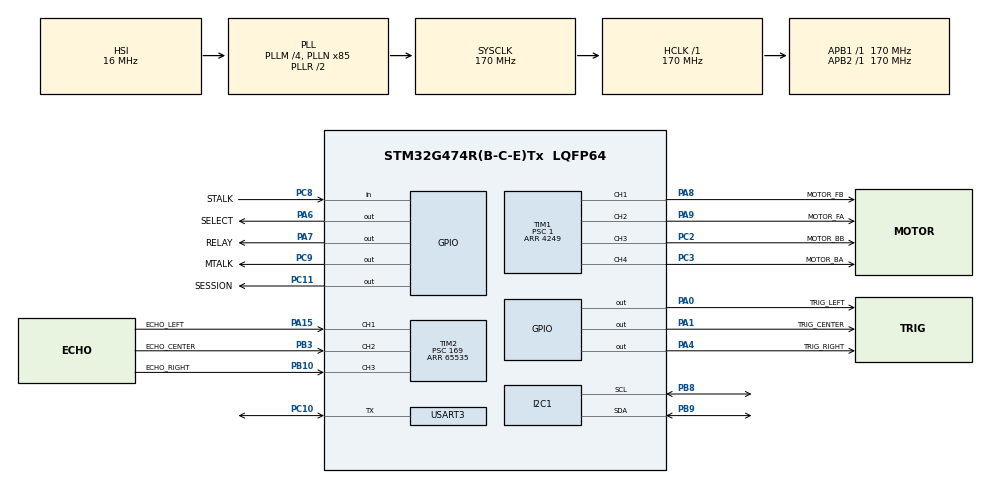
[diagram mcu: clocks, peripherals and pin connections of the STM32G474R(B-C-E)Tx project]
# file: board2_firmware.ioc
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CRC.InputDataFormat=CRC_INPUTDATA_FORMAT_BYTES
Dma.Request0=USART3_RX
Dma.Request1=USART3_TX
Dma.USART3_RX.0.Direction=DMA_PERIPH_TO_MEMORY
Dma.USART3_RX.0.EventEnable=DISABLE
Dma.USART3_RX.0.Instance=DMA1_Channel1
Dma.USART3_RX.0.MemDataAlignment=DMA_MDATAALIGN_BYTE
Dma.USART3_RX.0.MemInc=DMA_MINC_ENABLE
Dma.USART3_RX.0.Mode=DMA_NORMAL
Dma.USART3_RX.0.PeriphDataAlignment=DMA_PDATAALIGN_BYTE
Dma.USART3_RX.0.PeriphInc=DMA_PINC_DISABLE
Dma.USART3_RX.0.Polarity=HAL_DMAMUX_REQ_GEN_RISING
Dma.USART3_RX.0.Priority=DMA_PRIORITY_LOW
Dma.USART3_RX.0.RequestNumber=1
Dma.USART3_RX.0.SignalID=NONE
Dma.USART3_RX.0.SyncEnable=DISABLE
Dma.USART3_RX.0.SyncPolarity=HAL_DMAMUX_SYNC_NO_EVENT
Dma.USART3_RX.0.SyncRequestNumber=1
Dma.USART3_RX.0.SyncSignalID=NONE
Dma.USART3_TX.1.Direction=DMA_MEMORY_TO_PERIPH
Dma.USART3_TX.1.EventEnable=DISABLE
Dma.USART3_TX.1.Instance=DMA1_Channel2
Dma.USART3_TX.1.MemDataAlignment=DMA_MDATAALIGN_BYTE
Dma.USART3_TX.1.MemInc=DMA_MINC_ENABLE
Dma.USART3_TX.1.Mode=DMA_NORMAL
Dma.USART3_TX.1.PeriphDataAlignment=DMA_PDATAALIGN_BYTE
Dma.USART3_TX.1.PeriphInc=DMA_PINC_DISABLE
Dma.USART3_TX.1.Polarity=HAL_DMAMUX_REQ_GEN_RISING
Dma.USART3_TX.1.Priority=DMA_PRIORITY_LOW
Dma.USART3_TX.1.RequestNumber=1
Dma.USART3_TX.1.SignalID=NONE
Dma.USART3_TX.1.SyncEnable=DISABLE
Dma.USART3_TX.1.SyncPolarity=HAL_DMAMUX_SYNC_NO_EVENT
Dma.USART3_TX.1.SyncRequestNumber=1
Dma.USART3_TX.1.SyncSignalID=NONE
FREERTOS.Tasks01=readSonar,33,384,readSonarTask,Default,NULL,Static,readSonarBuffer,readSonarControlBlock;supervision,24,512,supervisionTask,Default,NULL,Static,supervisionBuffer,supervisionControlBlock;telemetryLogger,8,512,telemetryLoggerTask,Default,NULL,Static,telemetryLoggerBuffer,telemetryLoggerControlBlock
FREERTOS.configENABLE_FPU=1
FREERTOS.configTICK_RATE_HZ=1000
FREERTOS.configTOTAL_HEAP_SIZE=15360
FREERTOS.configUSE_NEWLIB_REENTRANT=1
FREERTOS.configUSE_PREEMPTION=1
I2C1.Timing=0x40B285C2
Mcu.Family=STM32G4
Mcu.Name=STM32G474R(B-C-E)Tx
Mcu.Package=LQFP64
NVIC.DMA1_Channel1_IRQn=true\:5\:0\:false\:false\:true\:true\:false\:true\:true
NVIC.DMA1_Channel2_IRQn=true\:5\:0\:false\:false\:true\:true\:false\:true\:true
NVIC.PriorityGroup=NVIC_PRIORITYGROUP_4
NVIC.TIM2_IRQn=true\:5\:0\:false\:false\:true\:true\:true\:true\:true
NVIC.TIM4_IRQn=true\:5\:0\:false\:false\:true\:true\:true\:true\:true
NVIC.TIM6_DAC_IRQn=true\:15\:0\:false\:false\:true\:false\:false\:true\:true
NVIC.TimeBase=TIM6_DAC_IRQn
NVIC.TimeBaseIP=TIM6
NVIC.USART3_IRQn=true\:5\:0\:false\:false\:true\:true\:true\:true\:true
PA0.GPIO_Label=TRIG_LEFT
PA0.Signal=GPIO_Output
PA1.GPIO_Label=TRIG_CENTER
PA1.Signal=GPIO_Output
PA15.GPIO_Label=ECHO_LEFT
PA15.GPIO_PuPd=GPIO_PULLDOWN
PA15.Signal=S_TIM2_CH1
PA4.GPIO_Label=TRIG_RIGHT
PA4.Signal=GPIO_Output
PA6.GPIO_Label=SELECT
PA6.Signal=GPIO_Output
PA7.GPIO_Label=RELAY
PA7.Signal=GPIO_Output
PA8.GPIO_Label=MOTOR_FB
PA8.Signal=S_TIM1_CH1
PA9.GPIO_Label=MOTOR_FA
PA9.Signal=S_TIM1_CH2
PB10.GPIO_Label=ECHO_RIGHT
PB10.GPIO_PuPd=GPIO_PULLDOWN
PB10.Signal=S_TIM2_CH3
PB3.GPIO_Label=ECHO_CENTER
PB3.GPIO_PuPd=GPIO_PULLDOWN
PB3.Signal=S_TIM2_CH2
PB8-BOOT0.GPIO_Pu=GPIO_PULLUP
PB8-BOOT0.Mode=I2C
PB8-BOOT0.Signal=I2C1_SCL
PB9.GPIO_Pu=GPIO_PULLUP
PB9.Mode=I2C
PB9.Signal=I2C1_SDA
PC10.GPIO_PuPd=GPIO_NOPULL
PC10.Mode=Half_duplex(single_wire_mode)
PC10.Signal=USART3_TX
PC11.GPIO_Label=SESSION
PC11.Signal=GPIO_Output
PC2.GPIO_Label=MOTOR_BB
PC2.Signal=S_TIM1_CH3
PC3.GPIO_Label=MOTOR_BA
PC3.Signal=S_TIM1_CH4
PC8.GPIO_Label=STALK
PC8.GPIO_PuPd=GPIO_PULLDOWN
PC8.Signal=GPIO_Input
PC9.GPIO_Label=MTALK
PC9.Signal=GPIO_Output
ProjectManager.HeapSize=0x200
ProjectManager.StackSize=0x400
ProjectManager.TargetToolchain=STM32CubeIDE
RCC.ADC12Freq_Value=170000000
RCC.ADC345Freq_Value=170000000
RCC.AHBFreq_Value=170000000
RCC.APB1Freq_Value=170000000
RCC.APB1TimFreq_Value=170000000
RCC.APB2Freq_Value=170000000
RCC.APB2TimFreq_Value=170000000
RCC.CortexFreq_Value=170000000
RCC.EXTERNAL_CLOCK_VALUE=12288000
RCC.HCLKFreq_Value=170000000
RCC.HSE_VALUE=8000000
RCC.HSI48_VALUE=48000000
RCC.HSI_VALUE=16000000
RCC.LSE_VALUE=32768
RCC.PLLM=RCC_PLLM_DIV4
RCC.PLLN=85
RCC.SYSCLKFreq_VALUE=170000000
RCC.SYSCLKSource=RCC_SYSCLKSOURCE_PLLCLK
RCC.USBFreq_Value=170000000
RCC.VCOOutputFreq_Value=340000000
SH.S_TIM1_CH1.0=TIM1_CH1,PWM Generation1 CH1
SH.S_TIM1_CH2.0=TIM1_CH2,PWM Generation2 CH2
SH.S_TIM1_CH3.0=TIM1_CH3,PWM Generation3 CH3
SH.S_TIM1_CH4.0=TIM1_CH4,PWM Generation4 CH4
SH.S_TIM2_CH1.0=TIM2_CH1,Input_Capture1_from_TI1
SH.S_TIM2_CH2.0=TIM2_CH2,Input_Capture2_from_TI2
SH.S_TIM2_CH3.0=TIM2_CH3,Input_Capture3_from_TI3
TIM1.Channel-PWM\ Generation1\ CH1=TIM_CHANNEL_1
TIM1.Channel-PWM\ Generation2\ CH2=TIM_CHANNEL_2
TIM1.Channel-PWM\ Generation3\ CH3=TIM_CHANNEL_3
TIM1.Channel-PWM\ Generation4\ CH4=TIM_CHANNEL_4
TIM1.PeriodNoDither=4249
TIM1.Prescaler=1
TIM2.Channel-Input_Capture1_from_TI1=TIM_CHANNEL_1
TIM2.Channel-Input_Capture2_from_TI2=TIM_CHANNEL_2
TIM2.Channel-Input_Capture3_from_TI3=TIM_CHANNEL_3
TIM2.PeriodNoDither=65535
TIM2.Prescaler=169
TIM4.Prescaler=1699
TIM5.Prescaler=169
USART3.BaudRate=230400
USART3.VirtualMode-Half_duplex(single_wire_mode)=VM_ASYNC
VP_CRC_VS_CRC.Mode=CRC_Activate
VP_FREERTOS_VS_CMSIS_V2.Mode=CMSIS_V2
VP_SYS_VS_DBSignals.Mode=DisableDeadBatterySignals
VP_SYS_VS_tim6.Mode=TIM6
VP_TIM4_VS_ClockSourceINT.Mode=Internal
VP_TIM5_VS_ClockSourceINT.Mode=Internal
board=custom

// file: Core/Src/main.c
/* USER CODE BEGIN Header */
/**
  ******************************************************************************
  * @file           : main.c
  * @brief          : Main program body
  ******************************************************************************
  * @attention
  *
  * Copyright (c) 2025 STMicroelectronics.
  * All rights reserved.
  *
  * This software is licensed under terms that can be found in the LICENSE file
  * in the root directory of this software component.
  * If no LICENSE file comes with this software, it is provided AS-IS.
  *
  ******************************************************************************
  */
/* USER CODE END Header */
#include "main.h"
#include "cmsis_os.h"
#include "crc.h"
#include "dma.h"
#include "i2c.h"
#include "tim.h"
#include "usart.h"
#include "gpio.h"

/* USER CODE BEGIN Includes */
#include "hcsr04.h"
#include "deadline_watchdog.h"
/* USER CODE END Includes */

/* USER CODE BEGIN PV */
extern Deadline_Watchdog_t hard_rt_deadline_wd;
boolean_T first_time = 0;
/* USER CODE END PV */

void SystemClock_Config(void);
void MX_FREERTOS_Init(void);

int main(void)
{

  /* MCU Configuration--------------------------------------------------------*/

  /* Reset of all peripherals, Initializes the Flash interface and the Systick. */
  HAL_Init();

  /* Configure the system clock */
  SystemClock_Config();

  /* Initialize all configured peripherals */
  MX_GPIO_Init();
  MX_DMA_Init();
  MX_CRC_Init();
  MX_TIM2_Init();
  MX_I2C1_Init();
  MX_TIM1_Init();
  MX_USART3_UART_Init();
  MX_TIM4_Init();
  MX_TIM5_Init();
  /* USER CODE BEGIN 2 */
  /*while (HAL_GPIO_ReadPin(GPIOB, GPIO_PIN_9) == GPIO_PIN_RESET)
  {
      for (int i = 0; i < 9; i++)
      {
          HAL_GPIO_TogglePin(GPIOB, GPIO_PIN_8);
      }
  }*/
  HAL_TIM_Base_Start(&htim5);
  /* USER CODE END 2 */

  /* Init scheduler */
  osKernelInitialize();

  /* Call init function for freertos objects (in cmsis_os2.c) */
  MX_FREERTOS_Init();

  /* Start scheduler */
  osKernelStart();

  /* We should never get here as control is now taken by the scheduler */

  /* Infinite loop */
  while (1)
  {

  }
}

void SystemClock_Config(void)
{
  RCC_OscInitTypeDef RCC_OscInitStruct = {0};
  RCC_ClkInitTypeDef RCC_ClkInitStruct = {0};

  /** Configure the main internal regulator output voltage
  */
  HAL_PWREx_ControlVoltageScaling(PWR_REGULATOR_VOLTAGE_SCALE1_BOOST);

  /** Initializes the RCC Oscillators according to the specified parameters
  * in the RCC_OscInitTypeDef structure.
  */
  RCC_OscInitStruct.OscillatorType = RCC_OSCILLATORTYPE_HSI;
  RCC_OscInitStruct.HSIState = RCC_HSI_ON;
  RCC_OscInitStruct.HSICalibrationValue = RCC_HSICALIBRATION_DEFAULT;
  RCC_OscInitStruct.PLL.PLLState = RCC_PLL_ON;
  RCC_OscInitStruct.PLL.PLLSource = RCC_PLLSOURCE_HSI;
  RCC_OscInitStruct.PLL.PLLM = RCC_PLLM_DIV4;
  RCC_OscInitStruct.PLL.PLLN = 85;
  RCC_OscInitStruct.PLL.PLLP = RCC_PLLP_DIV2;
  RCC_OscInitStruct.PLL.PLLQ = RCC_PLLQ_DIV2;
  RCC_OscInitStruct.PLL.PLLR = RCC_PLLR_DIV2;
  if (HAL_RCC_OscConfig(&RCC_OscInitStruct) != HAL_OK)
  {
    Error_Handler();
  }

  /** Initializes the CPU, AHB and APB buses clocks
  */
  RCC_ClkInitStruct.ClockType = RCC_CLOCKTYPE_HCLK|RCC_CLOCKTYPE_SYSCLK
                              |RCC_CLOCKTYPE_PCLK1|RCC_CLOCKTYPE_PCLK2;
  RCC_ClkInitStruct.SYSCLKSource = RCC_SYSCLKSOURCE_PLLCLK;
  RCC_ClkInitStruct.AHBCLKDivider = RCC_SYSCLK_DIV1;
  RCC_ClkInitStruct.APB1CLKDivider = RCC_HCLK_DIV1;
  RCC_ClkInitStruct.APB2CLKDivider = RCC_HCLK_DIV1;

  if (HAL_RCC_ClockConfig(&RCC_ClkInitStruct, FLASH_LATENCY_4) != HAL_OK)
  {
    Error_Handler();
  }
}

/* USER CODE BEGIN 4 */
void HAL_TIM_IC_CaptureCallback(TIM_HandleTypeDef *htim)
{
    if (htim->Instance == TIM2)
    {
    	HCSR04_IC_Callback(htim);
    }
}

/* USER CODE END 4 */

void HAL_TIM_PeriodElapsedCallback(TIM_HandleTypeDef *htim)
{
  if (htim->Instance == TIM6)
  {
    HAL_IncTick();
  }
  /* USER CODE BEGIN Callback 1 */
  DWD_CheckStatus(&hard_rt_deadline_wd, htim);
  /* USER CODE END Callback 1 */
}

void Error_Handler(void)
{
  __disable_irq();
  while (1)
  {
  }
}

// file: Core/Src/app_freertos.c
/* USER CODE BEGIN Header */
/**
  ******************************************************************************
  * File Name          : app_freertos.c
  * Description        : Code for freertos applications
  ******************************************************************************
  * @attention
  *
  * Copyright (c) 2025 STMicroelectronics.
  * All rights reserved.
  *
  * This software is licensed under terms that can be found in the LICENSE file
  * in the root directory of this software component.
  * If no LICENSE file comes with this software, it is provided AS-IS.
  *
  ******************************************************************************
  */
/* USER CODE END Header */

#include "FreeRTOS.h"
#include "task.h"
#include "main.h"
#include "cmsis_os.h"

/* USER CODE BEGIN Includes */
#include "Board2.h"
#include "dwt_delay.h"
#include "hcsr04.h"
#include "controller.h"
#include "mpu6050.h"
#include "motor.h"
#include "stdlib.h"
#include "deadline_watchdog.h"
#include "utils.h"
#include "hw_config.h"
/* USER CODE END Includes */

typedef StaticTask_t osStaticThreadDef_t;

/* USER CODE BEGIN PD */

#define DWD_FLAG_SUPERVISION		(1U << 0)
#define DWD_FLAG_SONAR_SENSORS		(1U << 1)

#define SYSTEM_ALIVE_MASK (DWD_FLAG_SUPERVISION | DWD_FLAG_SONAR_SENSORS)

#define SUPERVISION_PERIOD		(60)
#define TELEMETRY_LOGGER_PERIOD	(120)
#define SONAR_SCAN_PERIOD 		(40)
#define MAX_RPM 				(150U)

#define OPENLOOP_STEP       	(OPENLOOP_RAMP_SLOPE * (SUPERVISION_PERIOD / 1000.0))

#define SONAR_NUMBER			(3U)
/* USER CODE END PD */

/* USER CODE BEGIN PM */

static hcsr04_t us_left;
static hcsr04_t us_center;
static hcsr04_t us_right;

/* USER CODE END PM */

/* USER CODE BEGIN Variables */
Deadline_Watchdog_t hard_rt_deadline_wd;
uint16_T controller_x = 0;
uint16_T controller_y = 0;
boolean_T button1 = 0;
boolean_T button2 = 0;
boolean_T button3 = 0;
boolean_T button4 = 0;
uint8_T controller_battery = 0;

Controller_t controller;
mpu6050_t mpu_device;

float gyroyaw;

static Motor_t motor_FA_openLoop;
static Motor_t motor_FB_openLoop;
static Motor_t motor_BA_openLoop;
static Motor_t motor_BB_openLoop;

volatile MPU60X0_StatusTypeDef status_acc = 0;
volatile MPU60X0_StatusTypeDef status_gyro = 0;

extern TIM_HandleTypeDef htim1;
extern TIM_HandleTypeDef htim4;
extern I2C_HandleTypeDef hi2c1;

extern UART_HandleTypeDef huart3;

/* USER CODE END Variables */
/* Definitions for readSonar */
osThreadId_t readSonarHandle;
uint32_t readSonarBuffer[ 384 ];
osStaticThreadDef_t readSonarControlBlock;
const osThreadAttr_t readSonar_attributes = {
  .name = "readSonar",
  .stack_mem = &readSonarBuffer[0],
  .stack_size = sizeof(readSonarBuffer),
  .cb_mem = &readSonarControlBlock,
  .cb_size = sizeof(readSonarControlBlock),
  .priority = (osPriority_t) osPriorityAboveNormal1,
};
/* Definitions for supervision */
osThreadId_t supervisionHandle;
uint32_t supervisionBuffer[ 512 ];
osStaticThreadDef_t supervisionControlBlock;
const osThreadAttr_t supervision_attributes = {
  .name = "supervision",
  .stack_mem = &supervisionBuffer[0],
  .stack_size = sizeof(supervisionBuffer),
  .cb_mem = &supervisionControlBlock,
  .cb_size = sizeof(supervisionControlBlock),
  .priority = (osPriority_t) osPriorityNormal,
};
/* Definitions for telemetryLogger */
osThreadId_t telemetryLoggerHandle;
uint32_t telemetryLoggerBuffer[ 512 ];
osStaticThreadDef_t telemetryLoggerControlBlock;
const osThreadAttr_t telemetryLogger_attributes = {
  .name = "telemetryLogger",
  .stack_mem = &telemetryLoggerBuffer[0],
  .stack_size = sizeof(telemetryLoggerBuffer),
  .cb_mem = &telemetryLoggerControlBlock,
  .cb_size = sizeof(telemetryLoggerControlBlock),
  .priority = (osPriority_t) osPriorityLow,
};

/* USER CODE BEGIN FunctionPrototypes */
static void supervision_read_inputs(void);
void executeSupervision();
static void supervision_apply_actuation(void);
void safety_stop_and_halt();
/* USER CODE END FunctionPrototypes */

void readSonarTask(void *argument);
void supervisionTask(void *argument);
void telemetryLoggerTask(void *argument);

void MX_FREERTOS_Init(void); /* (MISRA C 2004 rule 8.1) */

void MX_FREERTOS_Init(void) {
  /* USER CODE BEGIN Init */
	DWD_Init(&hard_rt_deadline_wd, &htim4, SYSTEM_ALIVE_MASK, safety_stop_and_halt);

	(void)DWT_Delay_Init();

	MPU60X0_StatusTypeDef status_mpu;

	if(HCSR04_Init(&us_left,   &ULTRASONIC_HW_CONFIG[US_LEFT]) != HCSR04_OK){
	    Error_Handler();
	}
	if(HCSR04_Init(&us_center, &ULTRASONIC_HW_CONFIG[US_CENTER]) != HCSR04_OK){
	    Error_Handler();
	}

	if(HCSR04_Init(&us_right,  &ULTRASONIC_HW_CONFIG[US_RIGHT]) != HCSR04_OK){
	    Error_Handler();
	}

	if(telecontrol_init(&controller, CONTROLLER_HW_CONFIG[CONTROLLER_MAIN].i2c, CONTROLLER_HW_CONFIG[CONTROLLER_MAIN].address ) != CONTROLLER_OK){
	    Error_Handler();
	}

	status_mpu = mpu6050_init(&mpu_device, MPU_HW_CONFIG[MPU_MAIN].i2c, MPU_HW_CONFIG[MPU_MAIN].address, &MPU_HW_CONFIG[MPU_MAIN].cfg);

	if (status_mpu == MPU6050_ERR) {
	    Error_Handler();
	}
	else if (status_mpu == MPU6050_ERR_COMM) {
		Board2_U.gyroError = 1;
	}
	else {
		Board2_U.gyroError = 0;
	}

	if (motor_init(&motor_FA_openLoop, MOTOR_HW_CONFIG[MOTOR_FA].htim, MOTOR_HW_CONFIG[MOTOR_FA].channel, &MOTOR_HW_CONFIG[MOTOR_FA].calib) != MOTOR_OK){
	    Error_Handler();
	}

	if (motor_init(&motor_FB_openLoop, MOTOR_HW_CONFIG[MOTOR_FB].htim, MOTOR_HW_CONFIG[MOTOR_FB].channel, &MOTOR_HW_CONFIG[MOTOR_FB].calib) != MOTOR_OK) {
	    Error_Handler();
	}

	if (motor_init(&motor_BA_openLoop, MOTOR_HW_CONFIG[MOTOR_BA].htim, MOTOR_HW_CONFIG[MOTOR_BA].channel, &MOTOR_HW_CONFIG[MOTOR_BA].calib) != MOTOR_OK){
	    Error_Handler();
	}

	if (motor_init(&motor_BB_openLoop, MOTOR_HW_CONFIG[MOTOR_BB].htim, MOTOR_HW_CONFIG[MOTOR_BB].channel, &MOTOR_HW_CONFIG[MOTOR_BB].calib) != MOTOR_OK){
	    Error_Handler();
	}

	Board2_initialize();
  /* USER CODE END Init */

  /* Create the thread(s) */
  /* creation of readSonar */
  readSonarHandle = osThreadNew(readSonarTask, NULL, &readSonar_attributes);

  /* creation of supervision */
  supervisionHandle = osThreadNew(supervisionTask, NULL, &supervision_attributes);

  /* creation of telemetryLogger */
  telemetryLoggerHandle = osThreadNew(telemetryLoggerTask, NULL, &telemetryLogger_attributes);

}

void readSonarTask(void *argument)
{
  /* USER CODE BEGIN readSonarTask */
	TickType_t xLastWakeTime = xTaskGetTickCount();
	const TickType_t xFrequency = pdMS_TO_TICKS(SONAR_SCAN_PERIOD);

	hcsr04_t *dev[SONAR_NUMBER] = { &us_left, &us_center, &us_right };
	uint16_T g_sonar_distances[US_COUNT];
	// Variabili di stato per la gestione ciclica
	uint8_t curr_idx = 0U;      // Indice del sonar da avviare (Start)
	boolean_T first_run = true;

	for (;;)
	{
		vTaskDelayUntil(&xLastWakeTime, xFrequency);

		if (!first_run)
		{
			uint8_t prev_idx = (curr_idx == 0U) ? (SONAR_NUMBER - 1U) : (curr_idx - 1U);

			uint16_T cm = 0;

			(void)HCSR04_GetDistanceCm(dev[prev_idx], &cm);

			g_sonar_distances[prev_idx]=cm;

			if (prev_idx == (SONAR_NUMBER - 1U))
			{
				taskENTER_CRITICAL();

				Board2_U.sonar1 = g_sonar_distances[US_LEFT];
				Board2_U.sonar2 = g_sonar_distances[US_CENTER];
				Board2_U.sonar3 = g_sonar_distances[US_RIGHT];

				taskEXIT_CRITICAL();
			}
		}

		hcsr04_status_t st_start = HCSR04_Start(dev[curr_idx]);
		if (st_start != HCSR04_OK) {
			g_sonar_distances[curr_idx]=0;
		}

		curr_idx++;
		first_run=false;

		if (curr_idx >= SONAR_NUMBER) {
			curr_idx = 0;
		}

		DWD_Notify(&hard_rt_deadline_wd, DWD_FLAG_SONAR_SENSORS);
	}

  /* USER CODE END readSonarTask */
}

void supervisionTask(void *argument)
{
  /* USER CODE BEGIN supervisionTask */

	TickType_t xLastWakeTime = xTaskGetTickCount();
	const TickType_t xFrequency = pdMS_TO_TICKS(SUPERVISION_PERIOD);

	for(;;){
		vTaskDelayUntil(&xLastWakeTime, xFrequency);

		supervision_read_inputs();

		executeSupervision();

		supervision_apply_actuation();

		DWD_Notify(&hard_rt_deadline_wd, DWD_FLAG_SUPERVISION);
	  }
  /* USER CODE END supervisionTask */
}

void telemetryLoggerTask(void *argument)
{
  /* USER CODE BEGIN telemetryLoggerTask */
    static uint8_t telemetry_tx_failures = 0;
    static ControllerStatus_t status_telemetry;
    TickType_t xLastWakeTime = xTaskGetTickCount();
    const TickType_t xFrequency = pdMS_TO_TICKS(TELEMETRY_LOGGER_PERIOD);

    Telemetry_t telemetry;

    StateBusB1 stateB1;

    uint16_T sonar1, sonar2, sonar3;

    uint8_t supervision_state;
    uint8_t light_state;
    uint8_t driving_mode;

    uint8_t max_velocity;
    boolean_T special_retro;
    boolean_T obs_avoidance;
    boolean_T gyro_status;
    boolean_T traction_status;

    if (telemetry_init(&telemetry) != CONTROLLER_OK) {
        Error_Handler();
    }

    for (;;)
    {
        vTaskDelayUntil(&xLastWakeTime, xFrequency);

        /* ===================== SNAPSHOT ATOMICO ===================== */
        taskENTER_CRITICAL();

        sonar1 = Board2_U.sonar1;
        sonar2 = Board2_U.sonar2;
        sonar3 = Board2_U.sonar3;
        gyro_status = Board2_U.gyroError;

        supervision_state = Board2_DW.is_Board_state;
        light_state       = Board2_DW.is_Normal_lights;
        special_retro     = Board2_DW.special_retro;
        obs_avoidance     = Board2_DW.obs_detection;
        driving_mode      = Board2_DW.is_Normal_driving;
        max_velocity      = Board2_DW.max_velocity;
        traction_status   = (Board2_DW.working_status == MOTOR_ERROR_WORKING || Board2_DW.panic_lockdown);

        if (supervision_state == Board2_IN_Normal) {
            stateB1 = Board2_DW.global_state.stateB1;
        }

        taskEXIT_CRITICAL();
        /* ============================================================ */

        /* ===================== NORMAL MODE ===================== */
        if (supervision_state == Board2_IN_Normal)
        {
        	if (telemetry_set_backward_mode(&telemetry, special_retro ? BW_SPECIAL : BW_NORMAL) != CONTROLLER_OK) {
        		safety_stop_and_halt();
        	}

        	if (telemetry_set_battery(&telemetry, calculate_battery_percent(stateB1.battery_voltage)) != CONTROLLER_OK) {
        		safety_stop_and_halt();
        	}

        	if (telemetry_set_temperature(&telemetry, saturate_temperature(stateB1.temperature)) != CONTROLLER_OK) {
        		safety_stop_and_halt();
        	}

        	if (telemetry_set_light_mode(&telemetry, get_light_mode(light_state)) != CONTROLLER_OK) {
        		safety_stop_and_halt();
        	}

        	if (telemetry_set_obstacle_avoidance_mode(&telemetry, obs_avoidance ? COMPLETE : MINIMAL) != CONTROLLER_OK) {
        		safety_stop_and_halt();
        	}

        	if (telemetry_set_driving_mode(&telemetry, get_driving_mode(driving_mode)) != CONTROLLER_OK) {
        		safety_stop_and_halt();
        	}

        	if (telemetry_set_rpm(&telemetry, stateB1.velocity_FA, stateB1.velocity_FB, stateB1.velocity_BA, stateB1.velocity_BB) != CONTROLLER_OK) {
        		safety_stop_and_halt();
        	}

        	if (telemetry_set_operating_mode(&telemetry, OM_NORMAL) != CONTROLLER_OK) {
        		safety_stop_and_halt();
        	}
        }
        /* ===================== NON-NORMAL MODES ===================== */
        else
        {
        	if (telemetry_set_backward_mode(&telemetry, BW_NORMAL) != CONTROLLER_OK)
        		safety_stop_and_halt();

        	if (telemetry_set_battery(&telemetry, 0) != CONTROLLER_OK)
        		safety_stop_and_halt();

        	if (telemetry_set_temperature(&telemetry, 0) != CONTROLLER_OK)
        		safety_stop_and_halt();

        	if (telemetry_set_light_mode(&telemetry, LIGHT_OFF) != CONTROLLER_OK)
        		safety_stop_and_halt();

        	if (telemetry_set_obstacle_avoidance_mode(&telemetry, COMPLETE) != CONTROLLER_OK)
        		safety_stop_and_halt();

        	if (telemetry_set_driving_mode(&telemetry, DEFAULT) != CONTROLLER_OK)
        		safety_stop_and_halt();

        	if (telemetry_set_rpm(&telemetry, 0, 0, 0, 0) != CONTROLLER_OK)
        		safety_stop_and_halt();

        	if (telemetry_set_operating_mode(&telemetry, (supervision_state == Board2_IN_Degraded) ? OM_DEGRADED : OM_SINGLE_BOARD) != CONTROLLER_OK) {
        		safety_stop_and_halt();
        	}
        }

        /* ===================== COMMON FIELDS ===================== */

        if (telemetry_set_sonars(&telemetry, sonar1, sonar2, sonar3) != CONTROLLER_OK) {
        	safety_stop_and_halt();
        }

        if	(telemetry_set_gyro_status(&telemetry, gyro_status ? GYRO_STATUS_DEGRADED : GYRO_STATUS_READY) != CONTROLLER_OK) {
        	safety_stop_and_halt();
		}

        if (telemetry_set_traction_health(&telemetry, traction_status ? T_UNHEALTHY : T_HEALTHY) != CONTROLLER_OK) {
        	safety_stop_and_halt();
		}

        if (telemetry_set_max_velocity(&telemetry, max_velocity) != CONTROLLER_OK) {
        	safety_stop_and_halt();
        }

        /* ===================== TX ===================== */
        status_telemetry = telecontrol_send_telemetry(&controller, &telemetry);
        if (status_telemetry != CONTROLLER_OK) {
            if (status_telemetry == CONTROLLER_ERR) {
            	safety_stop_and_halt();
            } else {
                telemetry_tx_failures++;
            }
        }
    }
  /* USER CODE END telemetryLoggerTask */
}

/* USER CODE BEGIN Application */
static void supervision_read_inputs(void)
{
	static ControllerStatus_t telecontroller_status;
	static MPU60X0_StatusTypeDef mpu_status;
	static uint8_t imu_recovery_attempted = 0;

	telecontroller_status = telecontrol_read(&controller);

	switch (telecontroller_status){
	    case CONTROLLER_OK:
	        controller.crc_error_count = 0;
	        controller.last_valid_information = controller.controller_information;
	        Board2_U.controllerError = 0;
	        break;

	    case CONTROLLER_ERR_CRC:
	    	controller.crc_error_count++;
	        controller.controller_information = controller.last_valid_information;

	        Board2_U.controllerError = 1;

	        if (controller.crc_error_count >= CONTROLLER_MAX_CRC_ERRORS) {
	        	Board2_U.controllerError = 1;
	        }
	        break;

	    case CONTROLLER_ERR_COMM:
	        Board2_U.controllerError = 1;
	        break;

	    case CONTROLLER_ERR:
	    	safety_stop_and_halt();
	    	break;

	    default:
	    	safety_stop_and_halt();
	        break;
	}

	if (get_telecontrol_bx(&controller, &Board2_U.controller_x) != CONTROLLER_OK){
		safety_stop_and_halt();
	}

	if (get_telecontrol_ay(&controller, &Board2_U.controller_y) != CONTROLLER_OK){
		safety_stop_and_halt();
	}

	if (get_telecontrol_button_btn1(&controller, &Board2_U.B1) != CONTROLLER_OK){
		safety_stop_and_halt();
	}

	if (get_telecontrol_button_btn2(&controller, &Board2_U.B2) != CONTROLLER_OK){
		safety_stop_and_halt();
	}

	if (get_telecontrol_button_btn3(&controller, &Board2_U.B3) != CONTROLLER_OK){
		safety_stop_and_halt();
	}

	if (get_telecontrol_button_btn4(&controller, &Board2_U.B4) != CONTROLLER_OK){
		safety_stop_and_halt();
	}

	if (get_telecontrol_b_btn(&controller, &Board2_U.B_r_stick) != CONTROLLER_OK){
		safety_stop_and_halt();
	}

	if (get_telecontrol_a_btn(&controller, &Board2_U.B_l_stick) != CONTROLLER_OK){
		safety_stop_and_halt();
	}

	if (get_telecontrol_percentage(&controller, &Board2_U.controller_battery) != CONTROLLER_OK){
		safety_stop_and_halt();
	}

	mpu_status = mpu6050_get_gyro_z(&mpu_device, &gyroyaw);

	if (mpu_status == MPU6050_OK) {
	    Board2_U.gyroError = 0;
	    Board2_U.gyroYaw = gyroyaw;
	    imu_recovery_attempted = 0;
	} else {
	    Board2_U.gyroError = 1;

	    if (!imu_recovery_attempted) {
	    	mpu6050_recovery_init(&mpu_device);
	        imu_recovery_attempted = 1;
	    }
	}

}

void executeSupervision(){
	do{
		Board2_step();
	}
	while((Board2_DW.is_Supervisor != Board2_IN_Same_decision) &&
			(Board2_DW.is_Single_Board != Board2_IN_Other_board_failure) &&
				(Board2_DW.is_Degraded != Board2_IN_Restarting) &&
					(Board2_DW.is_Restablish != Boar_IN_Connection_restablished));
}

static void supervision_apply_actuation(void)
{
    static real32_T rif_FA_r = 0.0;
    static real32_T rif_FB_r = 0.0;
    static real32_T rif_BA_r = 0.0;
    static real32_T rif_BB_r = 0.0;

    real32_T rif_FA, rif_FB, rif_BA, rif_BB;
    BRAKING_TYPE braking_mode;
    uint8_T duty_FA, duty_FB, duty_BA, duty_BB;

    real32_T calc_duty;

    HAL_GPIO_WritePin(RELAY_GPIO_Port, RELAY_Pin,
                      Board2_Y.output.relay ? GPIO_PIN_SET : GPIO_PIN_RESET);

	HAL_GPIO_WritePin(SELECT_GPIO_Port, SELECT_Pin,
					  Board2_Y.output.mux ? GPIO_PIN_SET : GPIO_PIN_RESET);

    rif_FA = Board2_Y.output.rif_FA;
    rif_FB = Board2_Y.output.rif_FB;
    rif_BA = Board2_Y.output.rif_BA;
    rif_BB = Board2_Y.output.rif_BB;
    braking_mode = Board2_Y.output.brk_mode;

    if (braking_mode == EMERGENCY &&
        rif_FA == 0.0 && rif_FB == 0.0 && rif_BA == 0.0 && rif_BB == 0.0) {
        rif_FA_r = rif_FA;
        rif_FB_r = rif_FB;
        rif_BA_r = rif_BA;
        rif_BB_r = rif_BB;
    }
    else if (braking_mode == NORMAL &&
             rif_FA == 0.0 && rif_FB == 0.0 && rif_BA == 0.0 && rif_BB == 0.0) {
        rif_FA_r = ramp(rif_FA_r, rif_FA, OPENLOOP_STEP * NORMAL_BRK_COEFF);
        rif_FB_r = ramp(rif_FB_r, rif_FB, OPENLOOP_STEP * NORMAL_BRK_COEFF);
        rif_BA_r = ramp(rif_BA_r, rif_BA, OPENLOOP_STEP * NORMAL_BRK_COEFF);
        rif_BB_r = ramp(rif_BB_r, rif_BB, OPENLOOP_STEP * NORMAL_BRK_COEFF);
    }
    else {
        rif_FA_r = ramp(rif_FA_r, rif_FA, OPENLOOP_STEP);
        rif_FB_r = ramp(rif_FB_r, rif_FB, OPENLOOP_STEP);
        rif_BA_r = ramp(rif_BA_r, rif_BA, OPENLOOP_STEP);
        rif_BB_r = ramp(rif_BB_r, rif_BB, OPENLOOP_STEP);
    }

    /* ====== RPM -> duty % (0-100) ====== */
    calc_duty = (fabsf(rif_FA_r) * (real32_T)MOTOR_MAX_DUTY) / (real32_T)MAX_RPM;
    duty_FA = (uint8_T)calc_duty;

    calc_duty = (fabsf(rif_FB_r) * (real32_T)MOTOR_MAX_DUTY) / (real32_T)MAX_RPM;
    duty_FB = (uint8_T)calc_duty;

    calc_duty = (fabsf(rif_BA_r) * (real32_T)MOTOR_MAX_DUTY) / (real32_T)MAX_RPM;
    duty_BA = (uint8_T)calc_duty;

    calc_duty = (fabsf(rif_BB_r) * (real32_T)MOTOR_MAX_DUTY) / (real32_T)MAX_RPM;
    duty_BB = (uint8_T)calc_duty;

    /* ====== SATURAZIONE ====== */
    if (duty_FA > MOTOR_MAX_DUTY) duty_FA = MOTOR_MAX_DUTY;
    if (duty_FB > MOTOR_MAX_DUTY) duty_FB = MOTOR_MAX_DUTY;
    if (duty_BA > MOTOR_MAX_DUTY) duty_BA = MOTOR_MAX_DUTY;
    if (duty_BB > MOTOR_MAX_DUTY) duty_BB = MOTOR_MAX_DUTY;

    /* ====== COMANDO MOTORI ====== */
    if (motor_set(&motor_FA_openLoop, duty_FA,
                  (rif_FA_r >= 0.0) ? CLOCKWISE : COUNTERCLOCKWISE) != MOTOR_OK) {
    	safety_stop_and_halt();
    }

    if (motor_set(&motor_FB_openLoop, duty_FB,
                  (rif_FB_r >= 0.0) ? CLOCKWISE : COUNTERCLOCKWISE) != MOTOR_OK) {
    	safety_stop_and_halt();
    }

    if (motor_set(&motor_BA_openLoop, duty_BA,
                  (rif_BA_r >= 0.0) ? CLOCKWISE : COUNTERCLOCKWISE) != MOTOR_OK) {
    	safety_stop_and_halt();
    }

    if (motor_set(&motor_BB_openLoop, duty_BB,
                  (rif_BB_r >= 0.0) ? CLOCKWISE : COUNTERCLOCKWISE) != MOTOR_OK) {
    	safety_stop_and_halt();
    }
}

void vApplicationStackOverflowHook(TaskHandle_t xTask, char *pcTaskName)
{
    safety_stop_and_halt();
}

void safety_stop_and_halt(){

	__disable_irq(); // Disabilitazione di ogni ulteriore Interrupt

	// ARRESTO DEL ROVER IN CONDIZIONI DI SICUREZZA

    // Disabilita il relè
    HAL_GPIO_WritePin(RELAY_GPIO_Port, RELAY_Pin, GPIO_PIN_RESET);

    // Ferma tutti i PWM dei motori
    HAL_TIM_PWM_Stop(&htim1, TIM_CHANNEL_1);
    HAL_TIM_PWM_Stop(&htim1, TIM_CHANNEL_2);
    HAL_TIM_PWM_Stop(&htim1, TIM_CHANNEL_3);
    HAL_TIM_PWM_Stop(&htim1, TIM_CHANNEL_4);

    while(1) {
    		    // Blocco del sistema in condizioni di sicurezza
    }
}
/* USER CODE END Application */
